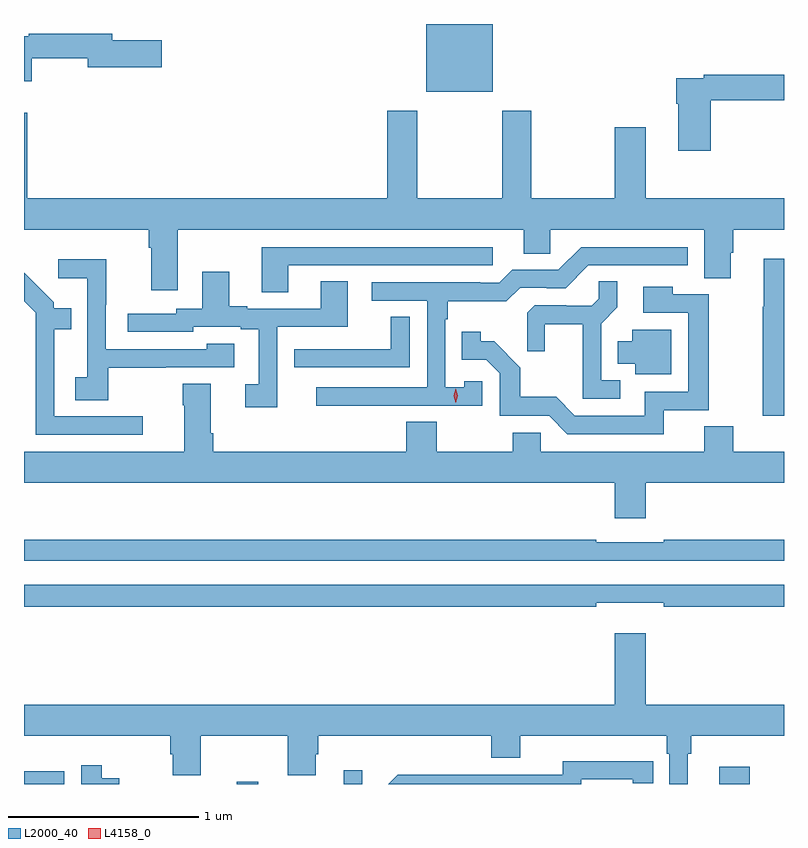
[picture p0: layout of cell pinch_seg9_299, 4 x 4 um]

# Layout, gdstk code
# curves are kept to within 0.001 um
import gdstk
lib = gdstk.Library(unit=1e-6, precision=1e-09)
def R(c, l, rs):  # rectangles x0, y0, x1, y1
    for r in rs: c.add(gdstk.rectangle(r[:2], r[2:], *l))
def P(c, l, *ps):  # polygons
    for p in ps: c.add(gdstk.Polygon(p, *l))
L2000_40 = (2000, 40)
L4158_0 = (4158, 0)

pinch_seg9_299 = lib.new_cell('pinch_seg9_299')
R(pinch_seg9_299, L2000_40, [(425.636,1185.51,425.847,1185.576), (426.757,1185.51,426.868,1185.523), (427.319,1185.51,427.416,1185.583), (429.296,1185.51,429.455,1185.601), (427.754,1189.154,428.104,1189.51)])
P(pinch_seg9_299, L2000_40, [(425.676,1189.33),(425.972,1189.33),(425.972,1189.283),(426.361,1189.283),(426.361,1189.425),(426.1,1189.425),(426.1,1189.459),(425.764,1189.459),(425.764,1189.458),(425.662,1189.458),(425.662,1189.446),(425.636,1189.446),(425.636,1189.208),(425.676,1189.208)],
  [(429.251,1189.108),(429.636,1189.108),(429.636,1189.244),(429.214,1189.244),(429.214,1189.224),(429.068,1189.224),(429.068,1189.091),(429.08,1189.091),(429.08,1188.843),(429.251,1188.843)],
  [(426.445,1188.428),(428.267,1188.428),(428.267,1188.301),(428.406,1188.301),(428.406,1188.428),(429.215,1188.428),(429.215,1188.172),(429.355,1188.172),(429.355,1188.306),(429.368,1188.306),(429.368,1188.428),(429.636,1188.428),(429.636,1188.592),(428.908,1188.592),(428.908,1188.967),(428.744,1188.967),(428.744,1188.592),(428.307,1188.592),(428.307,1189.054),(428.152,1189.054),(428.152,1188.592),(427.707,1188.592),(427.707,1189.054),(427.547,1189.054),(427.547,1188.592),(425.653,1188.592),(425.653,1189.042),(425.636,1189.042),(425.636,1188.428),(426.293,1188.428),(426.293,1188.332),(426.305,1188.332),(426.305,1188.108),(426.445,1188.108)],
  [(427.027,1188.24),(428.104,1188.24),(428.104,1188.336),(426.887,1188.336),(426.887,1188.097),(427.027,1188.097)],
  [(427.565,1187.502),(428.049,1187.502),(428.049,1187.631),(427.953,1187.631),(427.953,1187.599),(427.854,1187.599),(427.854,1187.957),(427.867,1187.957),(427.867,1188.05),(428.174,1188.05),(428.247,1188.123),(428.386,1188.123),(428.386,1188.12),(428.487,1188.12),(428.607,1188.24),(429.13,1188.24),(429.13,1188.336),(428.568,1188.336),(428.448,1188.216),(428.205,1188.216),(428.136,1188.147),(428.036,1188.147),(428.036,1188.15),(427.467,1188.15),(427.467,1188.054),(427.758,1188.054),(427.758,1187.598),(427.173,1187.598),(427.173,1187.5),(427.565,1187.5)],
  [(429.636,1188.274),(429.53,1188.274),(429.53,1188.021),(429.523,1188.021),(429.523,1187.448),(429.636,1187.448)],
  [(426.079,1187.701),(426.383,1187.701),(426.383,1187.703),(426.742,1187.703),(426.742,1187.827),(426.597,1187.827),(426.597,1187.799),(426.066,1187.799),(426.066,1188.032),(426.069,1188.032),(426.069,1188.271),(425.817,1188.271),(425.817,1188.173),(425.97,1188.173),(425.97,1187.652),(425.907,1187.652),(425.907,1187.53),(426.079,1187.53)],
  [(426.969,1187.916),(427.339,1187.916),(427.339,1188.155),(427.199,1188.155),(427.199,1188.012),(426.811,1188.012),(426.811,1188.025),(426.715,1188.025),(426.715,1188.205),(426.575,1188.205),(426.575,1188.012),(426.438,1188.012),(426.438,1187.985),(426.183,1187.985),(426.183,1187.889),(426.528,1187.889),(426.528,1187.916),(426.776,1187.916),(426.776,1187.904),(426.872,1187.904),(426.872,1187.613),(426.801,1187.613),(426.801,1187.493),(426.969,1187.493)],
  [(426.262,1187.445),(425.794,1187.445),(425.794,1187.904),(425.885,1187.904),(425.885,1188.013),(425.793,1188.013),(425.793,1188.045),(425.636,1188.202),(425.636,1188.052),(425.697,1187.991),(425.697,1187.349),(426.262,1187.349)],
  [(428.773,1187.634),(428.673,1187.634),(428.673,1187.933),(428.759,1188.019),(428.759,1188.155),(428.661,1188.155),(428.661,1188.064),(428.624,1188.027),(428.49,1188.027),(428.49,1188.03),(428.325,1188.03),(428.284,1187.989),(428.284,1187.787),(428.378,1187.787),(428.378,1187.93),(428.576,1187.93),(428.576,1187.538),(428.773,1187.538)],
  [(429.002,1187.478),(429.241,1187.478),(429.241,1188.087),(429.051,1188.087),(429.051,1188.127),(428.895,1188.127),(428.895,1187.991),(429.132,1187.991),(429.132,1187.574),(428.903,1187.574),(428.903,1187.448),(428.535,1187.448),(428.437,1187.547),(428.248,1187.547),(428.248,1187.702),(428.11,1187.84),(428.04,1187.84),(428.04,1187.89),(427.939,1187.89),(427.939,1187.742),(428.07,1187.742),(428.139,1187.673),(428.139,1187.448),(428.4,1187.448),(428.496,1187.352),(429.002,1187.352)],
  [(427.665,1187.969),(427.567,1187.969),(427.567,1187.799),(427.171,1187.799),(427.171,1187.798),(427.059,1187.798),(427.059,1187.703),(427.665,1187.703)],
  [(429.043,1187.902),(428.837,1187.902),(428.837,1187.839),(428.762,1187.839),(428.762,1187.723),(428.852,1187.723),(428.852,1187.666),(429.043,1187.666)],
  [(428.908,1187.096),(429.636,1187.096),(429.636,1187.26),(429.368,1187.26),(429.368,1187.393),(429.215,1187.393),(429.215,1187.26),(428.355,1187.26),(428.355,1187.358),(428.209,1187.358),(428.209,1187.26),(427.809,1187.26),(427.809,1187.417),(427.649,1187.417),(427.649,1187.26),(426.632,1187.26),(426.632,1187.356),(426.619,1187.356),(426.619,1187.617),(426.472,1187.617),(426.472,1187.504),(426.479,1187.504),(426.479,1187.26),(425.636,1187.26),(425.636,1187.096),(428.744,1187.096),(428.744,1186.908),(428.908,1186.908)],
  [(429.636,1186.795),(429.004,1186.795),(429.004,1186.782),(428.648,1186.782),(428.648,1186.795),(425.636,1186.795),(425.636,1186.686),(429.636,1186.686)],
  [(428.648,1186.463),(429.004,1186.463),(429.004,1186.444),(429.636,1186.444),(429.636,1186.56),(425.636,1186.56),(425.636,1186.444),(428.648,1186.444)],
  [(429.13,1185.668),(429.149,1185.668),(429.149,1185.764),(429.636,1185.764),(429.636,1185.928),(428.908,1185.928),(428.908,1186.303),(428.744,1186.303),(428.744,1185.928),(425.636,1185.928),(425.636,1185.764),(426.407,1185.764),(426.407,1185.666),(426.419,1185.666),(426.419,1185.556),(426.567,1185.556),(426.567,1185.764),(427.024,1185.764),(427.024,1185.556),(427.171,1185.556),(427.171,1185.666),(427.184,1185.666),(427.184,1185.764),(428.096,1185.764),(428.096,1185.647),(428.248,1185.647),(428.248,1185.764),(429.02,1185.764),(429.02,1185.668),(429.033,1185.668),(429.033,1185.51),(429.13,1185.51)],
  [(428.568,1185.534),(428.84,1185.534),(428.84,1185.514),(428.948,1185.514),(428.948,1185.63),(428.472,1185.631),(428.472,1185.558),(428.012,1185.558),(428.012,1185.56),(427.604,1185.56),(427.554,1185.51),(428.568,1185.51)],
  [(426.138,1185.54),(426.046,1185.54),(426.046,1185.61),(425.937,1185.61),(425.937,1185.51),(426.138,1185.51)])
P(pinch_seg9_299, L4158_0, [(427.909,1187.517),(427.909,1187.517),(427.899,1187.553),(427.909,1187.589),(427.909,1187.589),(427.909,1187.589),(427.919,1187.553),(427.909,1187.517)])

lib.write_gds('pinch_seg9_299.gds')
